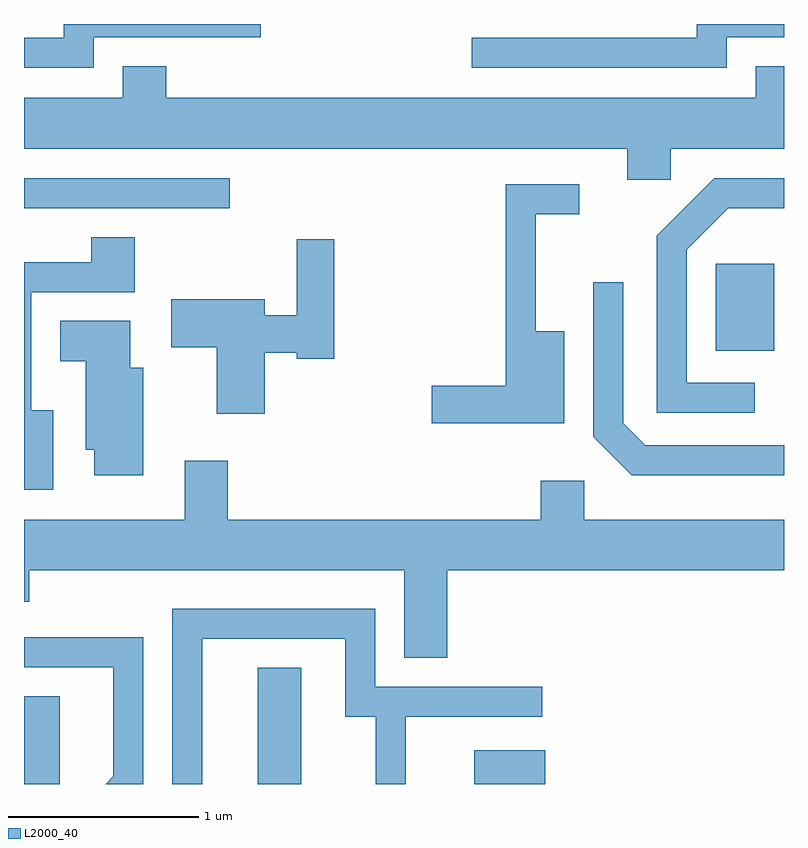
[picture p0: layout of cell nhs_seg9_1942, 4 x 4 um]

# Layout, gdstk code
import gdstk
lib = gdstk.Library(unit=1e-6, precision=1e-09)
def R(c, l, rs):  # rectangles x0, y0, x1, y1
    for r in rs: c.add(gdstk.rectangle(r[:2], r[2:], *l))
def P(c, l, *ps):  # polygons
    for p in ps: c.add(gdstk.Polygon(p, *l))
L2000_40 = (2000, 40)

nhs_seg9_1942 = lib.new_cell('nhs_seg9_1942')
R(nhs_seg9_1942, L2000_40, [(241.611,2028.432,241.799,2028.894), (242.841,2028.432,243.069,2029.044), (243.981,2028.432,244.354,2028.609), (245.251,2030.711,245.559,2031.169), (241.611,2031.461,242.693,2031.619)])
P(nhs_seg9_1942, L2000_40, [(245.309,2032.361),(245.611,2032.361),(245.611,2032.432),(245.151,2032.432),(245.151,2032.359),(243.968,2032.359),(243.968,2032.201),(245.309,2032.201)],
  [(241.979,2032.361),(242.858,2032.361),(242.858,2032.432),(241.821,2032.432),(241.821,2032.359),(241.611,2032.359),(241.611,2032.201),(241.979,2032.201)],
  [(245.014,2031.776),(245.611,2031.776),(245.611,2032.209),(245.461,2032.209),(245.461,2032.044),(242.359,2032.044),(242.359,2032.209),(242.131,2032.209),(242.131,2032.044),(241.611,2032.044),(241.611,2031.776),(244.786,2031.776),(244.786,2031.611),(245.014,2031.611)],
  [(245.458,2030.544),(245.099,2030.544),(245.099,2031.244),(245.317,2031.461),(245.611,2031.461),(245.611,2031.619),(245.244,2031.619),(244.941,2031.317),(244.941,2030.386),(245.458,2030.386)],
  [(244.454,2030.814),(244.304,2030.814),(244.304,2031.431),(244.533,2031.431),(244.533,2031.589),(244.146,2031.589),(244.146,2030.529),(243.756,2030.529),(243.756,2030.331),(244.454,2030.331)],
  [(241.764,2030.399),(241.649,2030.399),(241.649,2031.021),(242.194,2031.021),(242.194,2031.309),(241.966,2031.309),(241.966,2031.179),(241.611,2031.179),(241.611,2029.981),(241.764,2029.981)],
  [(242.879,2030.701),(243.046,2030.701),(243.046,2030.671),(243.244,2030.671),(243.244,2031.299),(243.046,2031.299),(243.046,2030.899),(242.879,2030.899),(242.879,2030.984),(242.386,2030.984),(242.386,2030.731),(242.626,2030.731),(242.626,2030.381),(242.879,2030.381)],
  [(245.611,2030.214),(244.882,2030.214),(244.764,2030.332),(244.764,2031.073),(244.606,2031.073),(244.606,2030.259),(244.809,2030.056),(245.611,2030.056)],
  [(242.239,2030.624),(242.169,2030.624),(242.169,2030.869),(241.801,2030.869),(241.801,2030.656),(241.936,2030.656),(241.936,2030.191),(241.981,2030.191),(241.981,2030.056),(242.239,2030.056)],
  [(243.839,2029.556),(245.611,2029.556),(245.611,2029.824),(244.559,2029.824),(244.559,2030.029),(244.331,2030.029),(244.331,2029.824),(242.684,2029.824),(242.684,2030.134),(242.456,2030.134),(242.456,2029.824),(241.611,2029.824),(241.611,2029.391),(241.639,2029.391),(241.639,2029.556),(243.611,2029.556),(243.611,2029.096),(243.839,2029.096)],
  [(242.549,2029.196),(243.301,2029.196),(243.301,2028.786),(243.461,2028.786),(243.461,2028.432),(243.619,2028.432),(243.619,2028.786),(244.338,2028.786),(244.338,2028.944),(243.459,2028.944),(243.459,2029.354),(242.391,2029.354),(242.391,2028.432),(242.549,2028.432)],
  [(242.239,2029.204),(241.611,2029.204),(241.611,2029.046),(242.081,2029.046),(242.081,2028.472),(242.041,2028.432),(242.239,2028.432)])

lib.write_gds('nhs_seg9_1942.gds')
